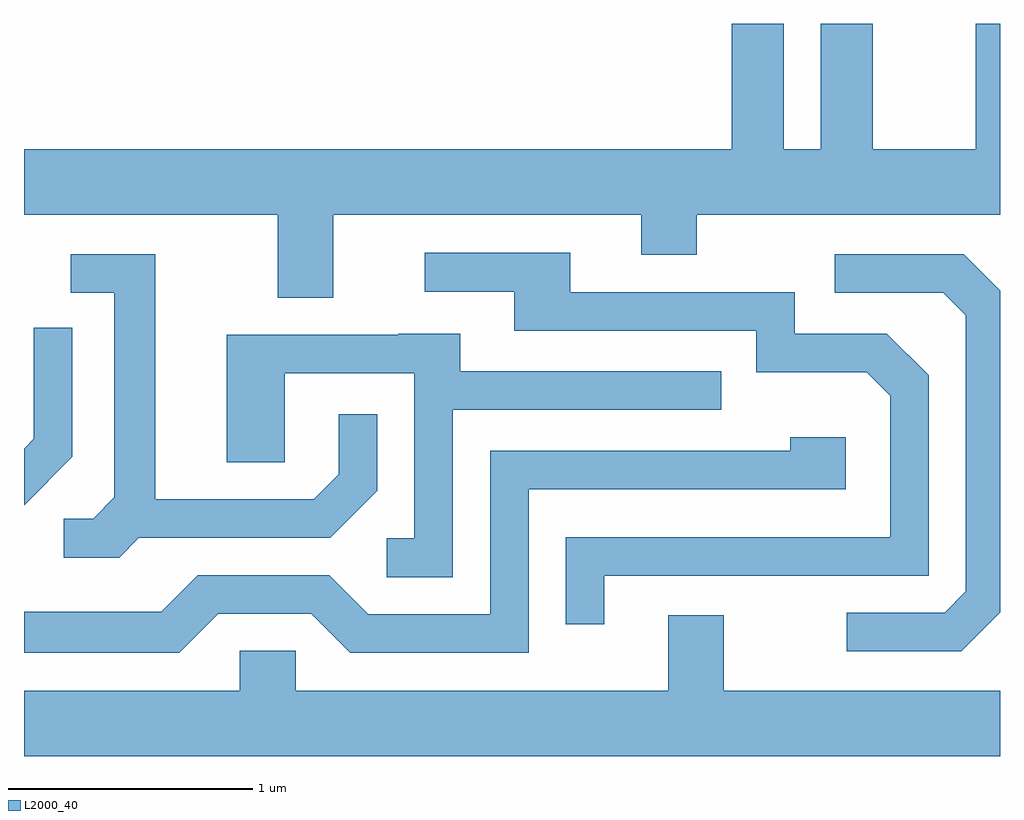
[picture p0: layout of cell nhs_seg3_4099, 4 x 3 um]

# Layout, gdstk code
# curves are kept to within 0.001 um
import gdstk
lib = gdstk.Library(unit=1e-6, precision=1e-09)
def P(c, l, *ps):  # polygons
    for p in ps: c.add(gdstk.Polygon(p, *l))
L2000_40 = (2000, 40)

nhs_seg3_4099 = lib.new_cell('nhs_seg3_4099')
P(nhs_seg3_4099, L2000_40, [(306.879,1157.096),(308.141,1157.096),(308.141,1156.931),(308.369,1156.931),(308.369,1157.096),(309.611,1157.096),(309.611,1157.879),(309.511,1157.879),(309.511,1157.364),(309.089,1157.364),(309.089,1157.879),(308.876,1157.879),(308.876,1157.364),(308.724,1157.364),(308.724,1157.879),(308.511,1157.879),(308.511,1157.364),(305.611,1157.364),(305.611,1157.096),(306.651,1157.096),(306.651,1156.756),(306.879,1156.756)],
  [(307.989,1155.616),(309.319,1155.616),(309.319,1156.437),(309.147,1156.609),(308.769,1156.609),(308.769,1156.779),(307.849,1156.779),(307.849,1156.939),(307.253,1156.939),(307.253,1156.781),(307.621,1156.781),(307.621,1156.621),(308.611,1156.621),(308.611,1156.451),(309.064,1156.451),(309.161,1156.354),(309.161,1155.774),(307.831,1155.774),(307.831,1155.418),(307.989,1155.418)],
  [(309.611,1155.466),(309.611,1156.785),(309.462,1156.934),(308.933,1156.934),(308.933,1156.776),(309.379,1156.776),(309.471,1156.684),(309.471,1155.552),(309.384,1155.464),(308.983,1155.464),(308.983,1155.306),(309.452,1155.306)],
  [(306.082,1155.771),(306.867,1155.771),(307.059,1155.964),(307.059,1156.278),(306.901,1156.278),(306.901,1156.032),(306.799,1155.929),(306.149,1155.929),(306.149,1156.934),(305.803,1156.934),(305.803,1156.776),(305.981,1156.776),(305.981,1155.937),(305.894,1155.849),(305.773,1155.849),(305.773,1155.691),(306.002,1155.691)],
  [(305.809,1156.104),(305.809,1156.633),(305.651,1156.633),(305.651,1156.177),(305.611,1156.137),(305.611,1155.906)],
  [(307.369,1156.296),(308.468,1156.296),(308.468,1156.454),(307.399,1156.454),(307.399,1156.609),(307.145,1156.609),(307.145,1156.604),(306.441,1156.604),(306.441,1156.081),(306.679,1156.081),(306.679,1156.446),(307.211,1156.446),(307.211,1155.769),(307.098,1155.769),(307.098,1155.611),(307.369,1155.611)],
  [(306.407,1155.461),(306.789,1155.461),(306.949,1155.301),(307.679,1155.301),(307.679,1155.971),(308.979,1155.971),(308.979,1156.184),(308.751,1156.184),(308.751,1156.129),(307.521,1156.129),(307.521,1155.459),(307.022,1155.459),(306.862,1155.619),(306.324,1155.619),(306.174,1155.469),(305.611,1155.469),(305.611,1155.301),(306.247,1155.301)],
  [(309.611,1155.144),(308.479,1155.144),(308.479,1155.454),(308.251,1155.454),(308.251,1155.144),(306.724,1155.144),(306.724,1155.309),(306.496,1155.309),(306.496,1155.144),(305.611,1155.144),(305.611,1154.876),(309.611,1154.876)])

lib.write_gds('nhs_seg3_4099.gds')
